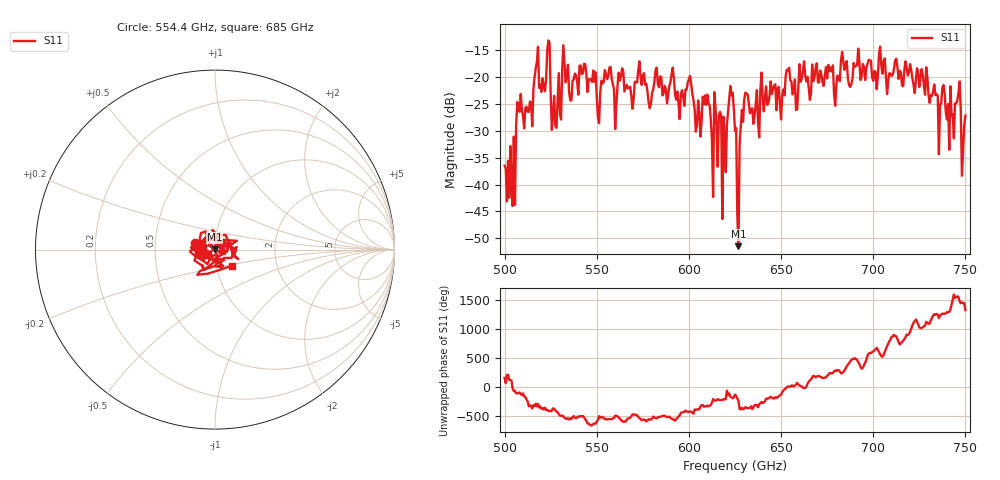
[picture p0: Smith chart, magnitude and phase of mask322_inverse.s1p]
!Created with skrf (http://scikit-rf.org).
# GHz S MA R 50.0
!freq magS11 angS11
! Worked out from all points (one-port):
!   401 points, 500 GHz to 750 GHz, reference 50 ohm
!   lowest |S11| = -51.5 dB at 626.9 GHz (marker M1), VSWR 1.01, Z = 49.9 + j0.237 ohm
!   |S11| at or under -10 dB: start of sweep to end of sweep
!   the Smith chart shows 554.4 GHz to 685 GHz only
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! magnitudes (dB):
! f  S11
! 500 GHz  -36.5
! 504.4 GHz  -44.0
! 507.5 GHz  -24.9
! 513.8 GHz  -24.5
! 516.9 GHz  -18.4
! 520.6 GHz  -20.2
! 523.8 GHz  -13.2
! 526.9 GHz  -23.5
! 531.2 GHz  -18.4
! 542.5 GHz  -19.3
! 551.2 GHz  -28.6
! 562.5 GHz  -20.7
! 578.8 GHz  -25.8
! 590.6 GHz  -19.4
! 593.8 GHz  -22.7
! 610 GHz  -23.3
! 611.9 GHz  -27.9
! 619.4 GHz  -30.8
! 623.1 GHz  -23.4
! 625 GHz  -30.0
! 626.9 GHz  -51.5
! 631.2 GHz  -23.0
! 656.2 GHz  -23.2
! 680 GHz  -21.4
! 683.8 GHz  -17.1
! 687.5 GHz  -21.8
! 718.8 GHz  -19.7
! 750 GHz  -27.2
